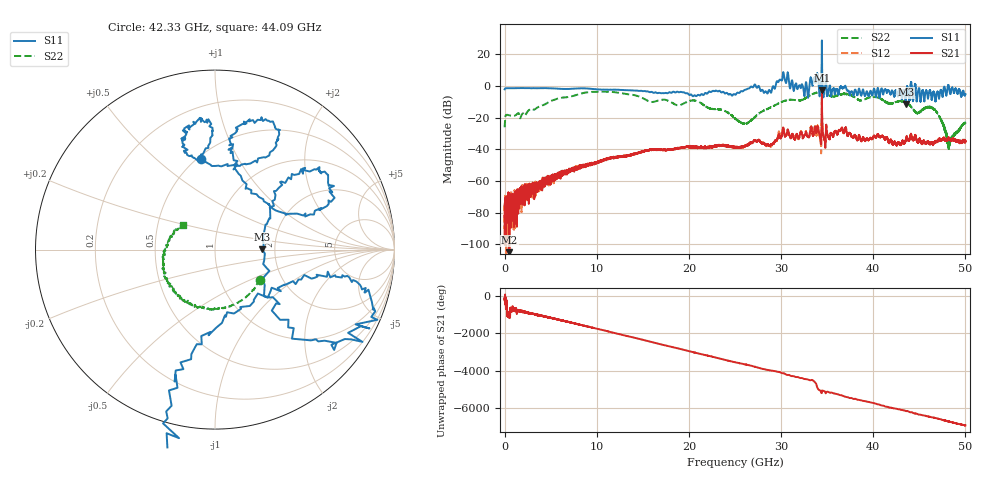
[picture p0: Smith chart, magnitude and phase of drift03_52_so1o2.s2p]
!Created with skrf (http://scikit-rf.org).
# Hz S RI R 50.0
!freq ReS11 ImS11 ReS21 ImS21 ReS12 ImS12 ReS22 ImS22
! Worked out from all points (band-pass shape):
!   10000 points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, 5.3 MHz to 50 GHz, reference 50 ohm
!   highest |S21| = -2.74 dB at 34.43 GHz (marker M1); lowest = -105.2 dB at 520.3 MHz (marker M2)
!   |S21| within 3 dB of the highest: 34.42747 GHz to 34.43462 GHz (7.154 MHz wide, 0.0208 % of centre)
!   lowest |S11| = -11.6 dB at 43.52 GHz (marker M3), VSWR 1.71, Z = 85.7 + j0.485 ohm
!   |S11| at or under -10 dB: 43.48842 GHz to 43.54286 GHz (54.43 MHz wide, 0.125 % of centre); 43.54811 GHz to 43.55102 GHz (2.912 MHz wide, 0.00669 % of centre)
!   |S22| runs from -39.8 to -3.6 dB; largest |S21 - S12| = 0.22
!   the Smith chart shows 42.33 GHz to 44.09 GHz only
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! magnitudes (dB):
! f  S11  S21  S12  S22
! 5.3 MHz  -2.1  -82.7  -74.7  -26.1
! 520.3 MHz  -1.4  -105.2  -73.3  -18.6
! 2.975 GHz  -1.4  -63.3  -63.0  -14.4
! 8.34 GHz  -1.5  -50.8  -50.9  -4.7
! 16.67 GHz  -4.4  -40.3  -40.4  -9.2
! 20.74 GHz  -6.3  -38.5  -38.5  -9.4
! 25.01 GHz  -5.5  -39.0  -38.6  -20.4
! 26.22 GHz  -2.3  -37.3  -37.6  -23.6
! 27.4 GHz  -1.1  -34.7  -34.8  -18.4
! 28.72 GHz  -2.5  -37.6  -37.6  -14.0
! 30.14 GHz  4.4  -29.5  -29.7  -9.9
! 32.74 GHz  2.0  -29.6  -29.3  -7.4
! 33.34 GHz  2.6  -27.5  -27.8  -5.3
! 33.82 GHz  4.0  -29.0  -29.6  -4.3
! 34.43 GHz  28.8  -2.7  -4.7  -4.0
! 36.48 GHz  -0.6  -28.0  -28.0  -5.3
! 41.67 GHz  -2.9  -35.7  -35.5  -10.9
! 43.52 GHz  -11.6  -34.4  -34.2  -10.3
! 44.74 GHz  -9.1  -34.7  -34.8  -17.0
! 46.67 GHz  -5.6  -35.5  -35.6  -14.9
! 48.22 GHz  -0.5  -33.1  -33.3  -36.1
! 50 GHz  -5.2  -34.8  -34.7  -23.6
